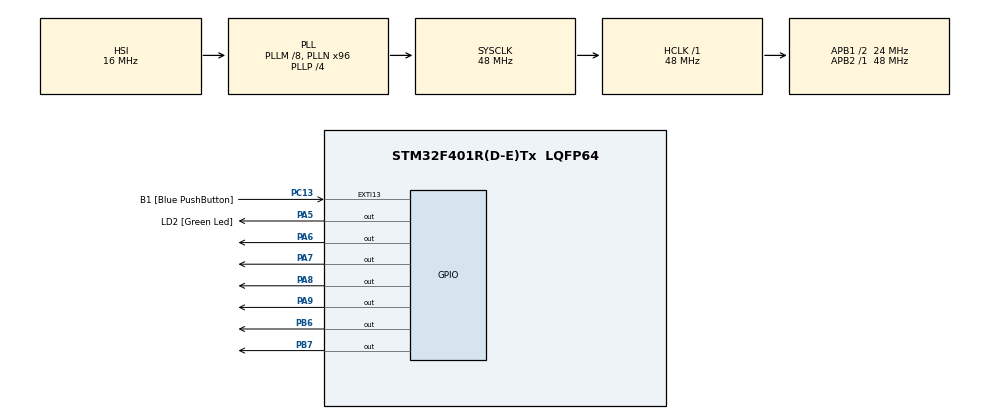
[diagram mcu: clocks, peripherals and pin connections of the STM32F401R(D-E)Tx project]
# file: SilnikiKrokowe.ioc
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Mcu.Family=STM32F4
Mcu.Name=STM32F401R(D-E)Tx
Mcu.Package=LQFP64
NVIC.PriorityGroup=NVIC_PRIORITYGROUP_0
NVIC.TIM1_UP_TIM10_IRQn=true\:0\:0\:false\:false\:true\:true
PA13.GPIO_Label=TMS
PA13.Signal=SYS_JTMS-SWDIO
PA14.GPIO_Label=TCK
PA14.Signal=SYS_JTCK-SWCLK
PA2.GPIO_Label=USART_TX
PA2.GPIO_Mode=GPIO_MODE_AF_PP
PA2.GPIO_PuPd=GPIO_NOPULL
PA2.GPIO_Speed=GPIO_SPEED_FREQ_LOW
PA2.Signal=USART2_TX
PA3.GPIO_Label=USART_RX
PA3.GPIO_Mode=GPIO_MODE_AF_PP
PA3.GPIO_PuPd=GPIO_NOPULL
PA3.GPIO_Speed=GPIO_SPEED_FREQ_LOW
PA3.Signal=USART2_RX
PA5.GPIO_Label=LD2 [Green Led]
PA5.GPIO_Mode=GPIO_MODE_OUTPUT_PP
PA5.GPIO_PuPd=GPIO_NOPULL
PA5.GPIO_Speed=GPIO_SPEED_FREQ_LOW
PA5.Signal=GPIO_Output
PA6.Signal=GPIO_Output
PA7.Signal=GPIO_Output
PA8.Signal=GPIO_Output
PA9.Signal=GPIO_Output
PB3.GPIO_Label=SWO
PB3.Signal=SYS_JTDO-SWO
PB6.Signal=GPIO_Output
PB7.Signal=GPIO_Output
PC13-ANTI_TAMP.GPIO_Label=B1 [Blue PushButton]
PC13-ANTI_TAMP.GPIO_ModeDefaultEXTI=GPIO_MODE_IT_FALLING
PC13-ANTI_TAMP.GPIO_PuPd=GPIO_NOPULL
PC13-ANTI_TAMP.Signal=GPXTI13
PC14-OSC32_IN.Signal=RCC_OSC32_IN
PC15-OSC32_OUT.Signal=RCC_OSC32_OUT
PH0\ -\ OSC_IN.Signal=RCC_OSC_IN
PH1\ -\ OSC_OUT.Signal=RCC_OSC_OUT
ProjectManager.HeapSize=0x200
ProjectManager.StackSize=0x400
ProjectManager.TargetToolchain=SW4STM32
RCC.48MHZClocksFreq_Value=27428571.42857143
RCC.AHBFreq_Value=48000000
RCC.APB1CLKDivider=RCC_HCLK_DIV2
RCC.APB1Freq_Value=24000000
RCC.APB1TimFreq_Value=48000000
RCC.APB2Freq_Value=48000000
RCC.APB2TimFreq_Value=48000000
RCC.CortexFreq_Value=48000000
RCC.HCLKFreq_Value=48000000
RCC.HSE_VALUE=8000000
RCC.HSI_VALUE=16000000
RCC.LSE_VALUE=32768
RCC.PLLM=8
RCC.PLLN=96
RCC.PLLP=RCC_PLLP_DIV4
RCC.PLLQ=7
RCC.SYSCLKFreq_VALUE=48000000
RCC.SYSCLKSource=RCC_SYSCLKSOURCE_PLLCLK
RCC.VCOOutputFreq_Value=192000000
TIM10.Period=20
TIM10.Prescaler=288
VP_TIM10_VS_ClockSourceINT.Mode=Enable_Timer
board=NUCLEO-F401RE

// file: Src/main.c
/**
  ******************************************************************************
  * File Name          : main.c
  * Description        : Main program body
  ******************************************************************************
  ** This notice applies to any and all portions of this file
  * that are not between comment pairs USER CODE BEGIN and
  * USER CODE END. Other portions of this file, whether
  * inserted by the user or by software development tools
  * are owned by their respective copyright owners.
  *
  * COPYRIGHT(c) 2017 STMicroelectronics
  *
  * Redistribution and use in source and binary forms, with or without modification,
  * are permitted provided that the following conditions are met:
  *   1. Redistributions of source code must retain the above copyright notice,
  *      this list of conditions and the following disclaimer.
  *   2. Redistributions in binary form must reproduce the above copyright notice,
  *      this list of conditions and the following disclaimer in the documentation
  *      and/or other materials provided with the distribution.
  *   3. Neither the name of STMicroelectronics nor the names of its contributors
  *      may be used to endorse or promote products derived from this software
  *      without specific prior written permission.
  *
  * THIS SOFTWARE IS PROVIDED BY THE COPYRIGHT HOLDERS AND CONTRIBUTORS "AS IS"
  * AND ANY EXPRESS OR IMPLIED WARRANTIES, INCLUDING, BUT NOT LIMITED TO, THE
  * IMPLIED WARRANTIES OF MERCHANTABILITY AND FITNESS FOR A PARTICULAR PURPOSE ARE
  * DISCLAIMED. IN NO EVENT SHALL THE COPYRIGHT HOLDER OR CONTRIBUTORS BE LIABLE
  * FOR ANY DIRECT, INDIRECT, INCIDENTAL, SPECIAL, EXEMPLARY, OR CONSEQUENTIAL
  * DAMAGES (INCLUDING, BUT NOT LIMITED TO, PROCUREMENT OF SUBSTITUTE GOODS OR
  * SERVICES; LOSS OF USE, DATA, OR PROFITS; OR BUSINESS INTERRUPTION) HOWEVER
  * CAUSED AND ON ANY THEORY OF LIABILITY, WHETHER IN CONTRACT, STRICT LIABILITY,
  * OR TORT (INCLUDING NEGLIGENCE OR OTHERWISE) ARISING IN ANY WAY OUT OF THE USE
  * OF THIS SOFTWARE, EVEN IF ADVISED OF THE POSSIBILITY OF SUCH DAMAGE.
  *
  ******************************************************************************
  */

#include "main.h"
#include "stm32f4xx_hal.h"

TIM_HandleTypeDef htim10;

/* USER CODE BEGIN PV */
/* Private variables ---------------------------------------------------------*/

/* USER CODE END PV */

void SystemClock_Config(void);
static void MX_GPIO_Init(void);
static void MX_TIM10_Init(void);

/* USER CODE BEGIN PFP */
/* Private function prototypes -----------------------------------------------*/

/* USER CODE END PFP */

/* USER CODE BEGIN 0 */

/////////////////////////////////
////Liczniki silnikow krokowych/////
int Licznik_silnika_0=0;
int Licznik_silnika_1=1;
int Licznik_silnika_2=2;

////////////////////////////////////
///////Dane Wejściowe///////////////

int Okres_silnika_0=0;
int Okres_silnika_1=0;
int Okres_silnika_2=0;

int Kierunek_obrotu_0=0;
int Kierunek_obrotu_1=0;
int Kierunek_obrotu_2=0;

///////////////////////////////////
/////////Zmienne pomocnicze////////
int Pamiec_ok_silnika_0=0;
int Pamiec_ok_silnika_1=0;
int Pamiec_ok_silnika_2=0;

void HAL_TIM_PeriodElapsedCallback(TIM_HandleTypeDef *htim){
 if(htim->Instance == TIM10){ // przerwanie od timera 10

	 Licznik_silnika_0++;	 Licznik_silnika_1++ ;	 Licznik_silnika_2++; 			// inkrementacja liczników

/////////////////////Silnik_0/////////////////////////////////////////
	 //////////      Pa6-Kierunek PA7-Krok              /////////////

	  if(Licznik_silnika_0 > Pamiec_ok_silnika_0){       //jesli licznik > od pamietanej wartosci
	    Licznik_silnika_0 = 0;           // reset licznika
	    Pamiec_ok_silnika_0 = Okres_silnika_0;                        //pobierz nowa wartosc
	 ////////////////////////////////////////////////////////////////
	    if(Kierunek_obrotu_0){                             //kierunek obrotu

	HAL_GPIO_WritePin(GPIOA, GPIO_PIN_6, GPIO_PIN_SET);   	}				//	stan pin kierunku 0

	   else {   HAL_GPIO_WritePin(GPIOA, GPIO_PIN_6, GPIO_PIN_RESET);	 }      // w przeciwnym wypadku

	  }
	/////////////////////////////////////////////////////////////////
	if(Pamiec_ok_silnika_0!=0){

	    if(Licznik_silnika_0==0)   {		HAL_GPIO_WritePin(GPIOA, GPIO_PIN_7, GPIO_PIN_SET);			}
	    if(Licznik_silnika_0==1)   {		HAL_GPIO_WritePin(GPIOA, GPIO_PIN_7, GPIO_PIN_RESET);		}
	}

/////////////////////////////Silnik_1///////////////////////////////////////
/////////// PB6-kierunek PB7-Krok								///////////
	  if(Licznik_silnika_1 > Pamiec_ok_silnika_1){       //jesli licznik > od pamietanej wartosci
	    Licznik_silnika_1 = 0;           // reset licznika
	    Pamiec_ok_silnika_1 = Okres_silnika_1;                        //pobierz nowa wartosc
	 ////////////////////////////////////////////////////////////////
	    if(Kierunek_obrotu_1){                             //kierunek obrotu

	HAL_GPIO_WritePin(GPIOB, GPIO_PIN_6, GPIO_PIN_SET);   	}				//	stan pin kierunku 0

	   else {   HAL_GPIO_WritePin(GPIOB, GPIO_PIN_6, GPIO_PIN_RESET);	 }      // w przeciwnym wypadku

	  }
	/////////////////////////////////////////////////////////////////
	if(Pamiec_ok_silnika_1!=0){

	    if(Licznik_silnika_1==0)   {		HAL_GPIO_WritePin(GPIOB, GPIO_PIN_7, GPIO_PIN_SET);			}
	    if(Licznik_silnika_1==1)   {		HAL_GPIO_WritePin(GPIOB, GPIO_PIN_7, GPIO_PIN_RESET);		}
	}

	/////////////////////////////Silnik_2///////////////////////////////////////
	///////////			 PA8-kierunek PA9-Krok								///////////
		  if(Licznik_silnika_2 > Pamiec_ok_silnika_2){       //jesli licznik > od pamietanej wartosci
		    Licznik_silnika_2 = 0;           // reset licznika
		    Pamiec_ok_silnika_2 = Okres_silnika_2;                        //pobierz nowa wartosc
		 ////////////////////////////////////////////////////////////////
		    if(Kierunek_obrotu_2){                             //kierunek obrotu

		HAL_GPIO_WritePin(GPIOA, GPIO_PIN_8, GPIO_PIN_SET);   	}				//	stan pin kierunku 0

		   else {   HAL_GPIO_WritePin(GPIOA, GPIO_PIN_8, GPIO_PIN_RESET);	 }      // w przeciwnym wypadku

		  }
		/////////////////////////////////////////////////////////////////
		if(Pamiec_ok_silnika_2!=0){

		    if(Licznik_silnika_2==0)   {		HAL_GPIO_WritePin(GPIOA, GPIO_PIN_9, GPIO_PIN_SET);			}
		    if(Licznik_silnika_2==1)   {		HAL_GPIO_WritePin(GPIOA, GPIO_PIN_9, GPIO_PIN_RESET);		}
		}

	//////////////////////////////////////////////////////////////////////////

}
 }
/* USER CODE END 0 */

int main(void)
{

  /* MCU Configuration----------------------------------------------------------*/

  /* Reset of all peripherals, Initializes the Flash interface and the Systick. */
  HAL_Init();

  /* Configure the system clock */
  SystemClock_Config();

  /* Initialize all configured peripherals */
  MX_GPIO_Init();
  MX_TIM10_Init();

  /* Infinite loop */
  while (1)
  {

  }

}

/** System Clock Configuration
*/
void SystemClock_Config(void)
{

  RCC_OscInitTypeDef RCC_OscInitStruct;
  RCC_ClkInitTypeDef RCC_ClkInitStruct;

    /**Configure the main internal regulator output voltage
    */
  __HAL_RCC_PWR_CLK_ENABLE();

  __HAL_PWR_VOLTAGESCALING_CONFIG(PWR_REGULATOR_VOLTAGE_SCALE2);

    /**Initializes the CPU, AHB and APB busses clocks
    */
  RCC_OscInitStruct.OscillatorType = RCC_OSCILLATORTYPE_HSI;
  RCC_OscInitStruct.HSIState = RCC_HSI_ON;
  RCC_OscInitStruct.HSICalibrationValue = 16;
  RCC_OscInitStruct.PLL.PLLState = RCC_PLL_ON;
  RCC_OscInitStruct.PLL.PLLSource = RCC_PLLSOURCE_HSI;
  RCC_OscInitStruct.PLL.PLLM = 8;
  RCC_OscInitStruct.PLL.PLLN = 96;
  RCC_OscInitStruct.PLL.PLLP = RCC_PLLP_DIV4;
  RCC_OscInitStruct.PLL.PLLQ = 7;
  if (HAL_RCC_OscConfig(&RCC_OscInitStruct) != HAL_OK)
  {
    _Error_Handler(__FILE__, __LINE__);
  }

    /**Initializes the CPU, AHB and APB busses clocks
    */
  RCC_ClkInitStruct.ClockType = RCC_CLOCKTYPE_HCLK|RCC_CLOCKTYPE_SYSCLK
                              |RCC_CLOCKTYPE_PCLK1|RCC_CLOCKTYPE_PCLK2;
  RCC_ClkInitStruct.SYSCLKSource = RCC_SYSCLKSOURCE_PLLCLK;
  RCC_ClkInitStruct.AHBCLKDivider = RCC_SYSCLK_DIV1;
  RCC_ClkInitStruct.APB1CLKDivider = RCC_HCLK_DIV2;
  RCC_ClkInitStruct.APB2CLKDivider = RCC_HCLK_DIV1;

  if (HAL_RCC_ClockConfig(&RCC_ClkInitStruct, FLASH_LATENCY_1) != HAL_OK)
  {
    _Error_Handler(__FILE__, __LINE__);
  }

    /**Configure the Systick interrupt time
    */
  HAL_SYSTICK_Config(HAL_RCC_GetHCLKFreq()/1000);

    /**Configure the Systick
    */
  HAL_SYSTICK_CLKSourceConfig(SYSTICK_CLKSOURCE_HCLK);

  /* SysTick_IRQn interrupt configuration */
  HAL_NVIC_SetPriority(SysTick_IRQn, 0, 0);
}

/* TIM10 init function */
static void MX_TIM10_Init(void)
{

  htim10.Instance = TIM10;
  htim10.Init.Prescaler = 288;
  htim10.Init.CounterMode = TIM_COUNTERMODE_UP;
  htim10.Init.Period = 20;
  htim10.Init.ClockDivision = TIM_CLOCKDIVISION_DIV1;
  if (HAL_TIM_Base_Init(&htim10) != HAL_OK)
  {
    _Error_Handler(__FILE__, __LINE__);
  }

}

/** Configure pins as
        * Analog
        * Input
        * Output
        * EVENT_OUT
        * EXTI
     PA2   ------> USART2_TX
     PA3   ------> USART2_RX
*/
static void MX_GPIO_Init(void)
{

  GPIO_InitTypeDef GPIO_InitStruct;

  /* GPIO Ports Clock Enable */
  __HAL_RCC_GPIOC_CLK_ENABLE();
  __HAL_RCC_GPIOH_CLK_ENABLE();
  __HAL_RCC_GPIOA_CLK_ENABLE();
  __HAL_RCC_GPIOB_CLK_ENABLE();

  /*Configure GPIO pin Output Level */
  HAL_GPIO_WritePin(GPIOA, LD2_Pin|GPIO_PIN_6|GPIO_PIN_7|GPIO_PIN_8
                          |GPIO_PIN_9, GPIO_PIN_RESET);

  /*Configure GPIO pin Output Level */
  HAL_GPIO_WritePin(GPIOB, GPIO_PIN_6|GPIO_PIN_7, GPIO_PIN_RESET);

  /*Configure GPIO pin : B1_Pin */
  GPIO_InitStruct.Pin = B1_Pin;
  GPIO_InitStruct.Mode = GPIO_MODE_IT_FALLING;
  GPIO_InitStruct.Pull = GPIO_NOPULL;
  HAL_GPIO_Init(B1_GPIO_Port, &GPIO_InitStruct);

  /*Configure GPIO pins : USART_TX_Pin USART_RX_Pin */
  GPIO_InitStruct.Pin = USART_TX_Pin|USART_RX_Pin;
  GPIO_InitStruct.Mode = GPIO_MODE_AF_PP;
  GPIO_InitStruct.Pull = GPIO_NOPULL;
  GPIO_InitStruct.Speed = GPIO_SPEED_FREQ_LOW;
  GPIO_InitStruct.Alternate = GPIO_AF7_USART2;
  HAL_GPIO_Init(GPIOA, &GPIO_InitStruct);

  /*Configure GPIO pins : LD2_Pin PA6 PA7 PA8
                           PA9 */
  GPIO_InitStruct.Pin = LD2_Pin|GPIO_PIN_6|GPIO_PIN_7|GPIO_PIN_8
                          |GPIO_PIN_9;
  GPIO_InitStruct.Mode = GPIO_MODE_OUTPUT_PP;
  GPIO_InitStruct.Pull = GPIO_NOPULL;
  GPIO_InitStruct.Speed = GPIO_SPEED_FREQ_LOW;
  HAL_GPIO_Init(GPIOA, &GPIO_InitStruct);

  /*Configure GPIO pins : PB6 PB7 */
  GPIO_InitStruct.Pin = GPIO_PIN_6|GPIO_PIN_7;
  GPIO_InitStruct.Mode = GPIO_MODE_OUTPUT_PP;
  GPIO_InitStruct.Pull = GPIO_NOPULL;
  GPIO_InitStruct.Speed = GPIO_SPEED_FREQ_LOW;
  HAL_GPIO_Init(GPIOB, &GPIO_InitStruct);

}

void _Error_Handler(char * file, int line)
{
  while(1)
  {
  }
}

/************************ (C) COPYRIGHT STMicroelectronics *****END OF FILE****/
